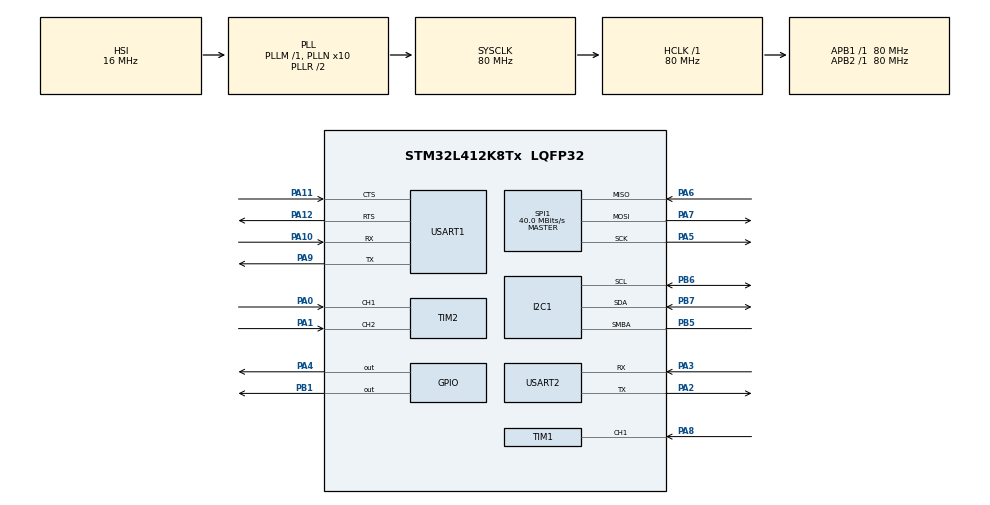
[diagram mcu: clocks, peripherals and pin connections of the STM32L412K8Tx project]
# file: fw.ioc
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I2C1.Timeout=0x000083D0
I2C1.Timing=0x10909CEC
Mcu.Family=STM32L4
Mcu.Name=STM32L412K8Tx
Mcu.Package=LQFP32
NVIC.PriorityGroup=NVIC_PRIORITYGROUP_4
PA0-CK_IN.Signal=S_TIM2_CH1
PA1.Signal=S_TIM2_CH2
PA10.Mode=Asynchronous
PA10.Signal=USART1_RX
PA11.Mode=CTS_RTS
PA11.Signal=USART1_CTS
PA12.Mode=CTS_RTS
PA12.Signal=USART1_RTS
PA13\ (JTMS/SWDIO).Mode=JTAG_5_pins
PA13\ (JTMS/SWDIO).Signal=SYS_JTMS-SWDIO
PA14\ (JTCK/SWCLK).Mode=JTAG_5_pins
PA14\ (JTCK/SWCLK).Signal=SYS_JTCK-SWCLK
PA15\ (JTDI).Mode=JTAG_5_pins
PA15\ (JTDI).Signal=SYS_JTDI
PA2.Mode=Asynchronous
PA2.Signal=USART2_TX
PA3.Mode=Asynchronous
PA3.Signal=USART2_RX
PA4.Signal=GPIO_Output
PA5.Mode=Full_Duplex_Master
PA5.Signal=SPI1_SCK
PA6.Mode=Full_Duplex_Master
PA6.Signal=SPI1_MISO
PA7.Mode=Full_Duplex_Master
PA7.Signal=SPI1_MOSI
PA8.Signal=S_TIM1_CH1
PA9.Mode=Asynchronous
PA9.Signal=USART1_TX
PB1.Signal=GPIO_Output
PB3\ (JTDO/TRACESWO).Mode=JTAG_5_pins
PB3\ (JTDO/TRACESWO).Signal=SYS_JTDO-SWO
PB4\ (NJTRST).Mode=JTAG_5_pins
PB4\ (NJTRST).Signal=SYS_JTRST
PB5.Mode=SMBus-Alert-mode
PB5.Signal=I2C1_SMBA
PB6.Mode=SMBus-Alert-mode
PB6.Signal=I2C1_SCL
PB7.Mode=SMBus-Alert-mode
PB7.Signal=I2C1_SDA
ProjectManager.HeapSize=0x200
ProjectManager.StackSize=0x400
ProjectManager.TargetToolchain=STM32CubeIDE
RCC.ADCFreq_Value=80000000
RCC.AHBFreq_Value=80000000
RCC.APB1Freq_Value=80000000
RCC.APB1TimFreq_Value=80000000
RCC.APB2Freq_Value=80000000
RCC.APB2TimFreq_Value=80000000
RCC.CortexFreq_Value=80000000
RCC.HCLKFreq_Value=80000000
RCC.HSE_VALUE=8000000
RCC.HSI48_VALUE=48000000
RCC.HSI_VALUE=16000000
RCC.LSE_VALUE=32768
RCC.MSIClockRange=RCC_MSIRANGE_11
RCC.MSI_VALUE=48000000
RCC.PLLN=10
RCC.PLLSourceVirtual=RCC_PLLSOURCE_HSI
RCC.SYSCLKFreq_VALUE=80000000
RCC.SYSCLKSource=RCC_SYSCLKSOURCE_PLLCLK
RCC.USBFreq_Value=48000000
RCC.VCOOutputFreq_Value=160000000
SH.S_TIM1_CH1.0=TIM1_CH1,Input_Capture1_from_TI1
SH.S_TIM1_CH1.1=TIM1_CH1,Input_Capture2_from_TI1
SH.S_TIM2_CH1.0=TIM2_CH1,Input_Capture1_from_TI1
SH.S_TIM2_CH2.0=TIM2_CH2,Input_Capture2_from_TI2
SPI1.BaudRatePrescaler=SPI_BAUDRATEPRESCALER_2
SPI1.CalculateBaudRate=40.0 MBits/s
SPI1.Direction=SPI_DIRECTION_2LINES
SPI1.Mode=SPI_MODE_MASTER
SPI1.VirtualType=VM_MASTER
TIM1.Channel-Input_Capture1_from_TI1=TIM_CHANNEL_1
TIM1.Channel-Input_Capture2_from_TI1=TIM_CHANNEL_2
TIM1.ICPolarity_CH1=TIM_INPUTCHANNELPOLARITY_RISING
TIM1.ICPolarity_CH2=TIM_INPUTCHANNELPOLARITY_FALLING
TIM1.TIM_MasterSlaveMode=TIM_MASTERSLAVEMODE_DISABLE
TIM2.Channel-Input_Capture1_from_TI1=TIM_CHANNEL_1
TIM2.Channel-Input_Capture2_from_TI2=TIM_CHANNEL_2
USART1.VirtualMode-Asynchronous=VM_ASYNC
USART2.VirtualMode-Asynchronous=VM_ASYNC
VP_TIM1_VS_ClockSourceINT.Mode=Internal
VP_TIM2_VS_ClockSourceINT.Mode=Internal
board=custom

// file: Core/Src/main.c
/* USER CODE BEGIN Header */
/**
  ******************************************************************************
  * @file           : main.c
  * @brief          : Main program body
  ******************************************************************************
  * @attention
  *
  * <h2><center>&copy; Copyright (c) 2023 STMicroelectronics.
  * All rights reserved.</center></h2>
  *
  * This software component is licensed by ST under BSD 3-Clause license,
  * the "License"; You may not use this file except in compliance with the
  * License. You may obtain a copy of the License at:
  *                        opensource.org/licenses/BSD-3-Clause
  *
  ******************************************************************************
  */
/* USER CODE END Header */
#include "main.h"

/* USER CODE BEGIN Includes */
#include "string.h"

/* USER CODE END Includes */

/* USER CODE BEGIN PD */
#define BUFFER_SIZE 16

#define SIZE 10

/* USER CODE END PD */

SMBUS_HandleTypeDef hsmbus1;

SPI_HandleTypeDef hspi1;

TIM_HandleTypeDef htim1;
TIM_HandleTypeDef htim2;

UART_HandleTypeDef huart1;
UART_HandleTypeDef huart2;

/* USER CODE BEGIN PV */
uint8_t tx_buffer[BUFFER_SIZE];//={'S','t','a','y',' ','a','t',' ','h','o','m','e','!','!','!','!'};
uint8_t rx_buffer[BUFFER_SIZE];

uint8_t st_buffer[SIZE]={'S','t',' ','p','i','e','n','o',' ','\n'};
uint8_t pulp_buffer[SIZE]={'P','u','l','p',' ','f','u','l','l','\n'};

/* USER CODE END PV */

void SystemClock_Config(void);
static void MX_GPIO_Init(void);
static void MX_I2C1_SMBUS_Init(void);
static void MX_SPI1_Init(void);
static void MX_TIM1_Init(void);
static void MX_TIM2_Init(void);
static void MX_USART1_UART_Init(void);
static void MX_USART2_UART_Init(void);

int main(void)
{

  /* MCU Configuration--------------------------------------------------------*/

  /* Reset of all peripherals, Initializes the Flash interface and the Systick. */
  HAL_Init();

  /* Configure the system clock */
  SystemClock_Config();

  /* Initialize all configured peripherals */
  MX_GPIO_Init();
  MX_I2C1_SMBUS_Init();
  MX_SPI1_Init();
  MX_TIM1_Init();
  MX_TIM2_Init();
  MX_USART1_UART_Init();
  MX_USART2_UART_Init();
  /* USER CODE BEGIN 2 */
  uint8_t i=0;
  uint8_t error=0;
  memset(rx_buffer, 0, BUFFER_SIZE);
  memset(tx_buffer, 0, BUFFER_SIZE);

  /* USER CODE END 2 */

  /* Infinite loop */
  /* USER CODE BEGIN WHILE */
  //HAL_UART_Transmit(&huart1, tx_buffer, BUFFER_SIZE, 1000);

  while (1)
  {
    /* USER CODE END WHILE */

    /* USER CODE BEGIN 3 */
	while(i<BUFFER_SIZE)
	{
		if(HAL_GPIO_ReadPin(GPIOA, GPIO_PIN_12)==1)
		{
			HAL_UART_Transmit(&huart2, st_buffer, SIZE, 1000);
			HAL_Delay(10);
			HAL_UART_Receive(&huart1, rx_buffer+i, 1, 10);
			i++;
			HAL_Delay(1);
		}
	}

	i=0;
	while(i<BUFFER_SIZE)
	{
		//if(tx_buffer[i]!=rx_buffer[i]) error++;
		HAL_UART_Transmit(&huart1, rx_buffer+i, 1, 1000);
		i++;
		if(HAL_GPIO_ReadPin(GPIOA, GPIO_PIN_11)==1) HAL_UART_Transmit(&huart2, pulp_buffer, SIZE, 1000);
	}

	HAL_UART_Transmit(&huart1, rx_buffer, BUFFER_SIZE, 1000);

	while(1)
	{
		HAL_GPIO_TogglePin(GPIOB, GPIO_PIN_1);
		HAL_Delay(100);
	}
  }
  /* USER CODE END 3 */
}

void SystemClock_Config(void)
{
  RCC_OscInitTypeDef RCC_OscInitStruct = {0};
  RCC_ClkInitTypeDef RCC_ClkInitStruct = {0};
  RCC_PeriphCLKInitTypeDef PeriphClkInit = {0};

  /** Configure the main internal regulator output voltage
  */
  if (HAL_PWREx_ControlVoltageScaling(PWR_REGULATOR_VOLTAGE_SCALE1) != HAL_OK)
  {
    Error_Handler();
  }
  /** Initializes the RCC Oscillators according to the specified parameters
  * in the RCC_OscInitTypeDef structure.
  */
  RCC_OscInitStruct.OscillatorType = RCC_OSCILLATORTYPE_HSI;
  RCC_OscInitStruct.HSIState = RCC_HSI_ON;
  RCC_OscInitStruct.HSICalibrationValue = RCC_HSICALIBRATION_DEFAULT;
  RCC_OscInitStruct.PLL.PLLState = RCC_PLL_ON;
  RCC_OscInitStruct.PLL.PLLSource = RCC_PLLSOURCE_HSI;
  RCC_OscInitStruct.PLL.PLLM = 1;
  RCC_OscInitStruct.PLL.PLLN = 10;
  RCC_OscInitStruct.PLL.PLLQ = RCC_PLLQ_DIV2;
  RCC_OscInitStruct.PLL.PLLR = RCC_PLLR_DIV2;
  if (HAL_RCC_OscConfig(&RCC_OscInitStruct) != HAL_OK)
  {
    Error_Handler();
  }
  /** Initializes the CPU, AHB and APB buses clocks
  */
  RCC_ClkInitStruct.ClockType = RCC_CLOCKTYPE_HCLK|RCC_CLOCKTYPE_SYSCLK
                              |RCC_CLOCKTYPE_PCLK1|RCC_CLOCKTYPE_PCLK2;
  RCC_ClkInitStruct.SYSCLKSource = RCC_SYSCLKSOURCE_PLLCLK;
  RCC_ClkInitStruct.AHBCLKDivider = RCC_SYSCLK_DIV1;
  RCC_ClkInitStruct.APB1CLKDivider = RCC_HCLK_DIV1;
  RCC_ClkInitStruct.APB2CLKDivider = RCC_HCLK_DIV1;

  if (HAL_RCC_ClockConfig(&RCC_ClkInitStruct, FLASH_LATENCY_4) != HAL_OK)
  {
    Error_Handler();
  }
  PeriphClkInit.PeriphClockSelection = RCC_PERIPHCLK_USART1|RCC_PERIPHCLK_USART2
                              |RCC_PERIPHCLK_I2C1;
  PeriphClkInit.Usart1ClockSelection = RCC_USART1CLKSOURCE_PCLK2;
  PeriphClkInit.Usart2ClockSelection = RCC_USART2CLKSOURCE_PCLK1;
  PeriphClkInit.I2c1ClockSelection = RCC_I2C1CLKSOURCE_PCLK1;
  if (HAL_RCCEx_PeriphCLKConfig(&PeriphClkInit) != HAL_OK)
  {
    Error_Handler();
  }
}

static void MX_I2C1_SMBUS_Init(void)
{

  hsmbus1.Instance = I2C1;
  hsmbus1.Init.Timing = 0x10909CEC;
  hsmbus1.Init.AnalogFilter = SMBUS_ANALOGFILTER_ENABLE;
  hsmbus1.Init.OwnAddress1 = 2;
  hsmbus1.Init.AddressingMode = SMBUS_ADDRESSINGMODE_7BIT;
  hsmbus1.Init.DualAddressMode = SMBUS_DUALADDRESS_DISABLE;
  hsmbus1.Init.OwnAddress2 = 0;
  hsmbus1.Init.OwnAddress2Masks = SMBUS_OA2_NOMASK;
  hsmbus1.Init.GeneralCallMode = SMBUS_GENERALCALL_DISABLE;
  hsmbus1.Init.NoStretchMode = SMBUS_NOSTRETCH_DISABLE;
  hsmbus1.Init.PacketErrorCheckMode = SMBUS_PEC_DISABLE;
  hsmbus1.Init.PeripheralMode = SMBUS_PERIPHERAL_MODE_SMBUS_SLAVE;
  hsmbus1.Init.SMBusTimeout = 0x000083D0;
  if (HAL_SMBUS_Init(&hsmbus1) != HAL_OK)
  {
    Error_Handler();
  }
  /** configuration Alert Mode
  */
  if (HAL_SMBUS_EnableAlert_IT(&hsmbus1) != HAL_OK)
  {
    Error_Handler();
  }

}

static void MX_SPI1_Init(void)
{

  /* SPI1 parameter configuration*/
  hspi1.Instance = SPI1;
  hspi1.Init.Mode = SPI_MODE_MASTER;
  hspi1.Init.Direction = SPI_DIRECTION_2LINES;
  hspi1.Init.DataSize = SPI_DATASIZE_4BIT;
  hspi1.Init.CLKPolarity = SPI_POLARITY_LOW;
  hspi1.Init.CLKPhase = SPI_PHASE_1EDGE;
  hspi1.Init.NSS = SPI_NSS_SOFT;
  hspi1.Init.BaudRatePrescaler = SPI_BAUDRATEPRESCALER_2;
  hspi1.Init.FirstBit = SPI_FIRSTBIT_MSB;
  hspi1.Init.TIMode = SPI_TIMODE_DISABLE;
  hspi1.Init.CRCCalculation = SPI_CRCCALCULATION_DISABLE;
  hspi1.Init.CRCPolynomial = 7;
  hspi1.Init.CRCLength = SPI_CRC_LENGTH_DATASIZE;
  hspi1.Init.NSSPMode = SPI_NSS_PULSE_ENABLE;
  if (HAL_SPI_Init(&hspi1) != HAL_OK)
  {
    Error_Handler();
  }

}

static void MX_TIM1_Init(void)
{

  TIM_ClockConfigTypeDef sClockSourceConfig = {0};
  TIM_MasterConfigTypeDef sMasterConfig = {0};
  TIM_IC_InitTypeDef sConfigIC = {0};

  htim1.Instance = TIM1;
  htim1.Init.Prescaler = 0;
  htim1.Init.CounterMode = TIM_COUNTERMODE_UP;
  htim1.Init.Period = 65535;
  htim1.Init.ClockDivision = TIM_CLOCKDIVISION_DIV1;
  htim1.Init.RepetitionCounter = 0;
  htim1.Init.AutoReloadPreload = TIM_AUTORELOAD_PRELOAD_DISABLE;
  if (HAL_TIM_Base_Init(&htim1) != HAL_OK)
  {
    Error_Handler();
  }
  sClockSourceConfig.ClockSource = TIM_CLOCKSOURCE_INTERNAL;
  if (HAL_TIM_ConfigClockSource(&htim1, &sClockSourceConfig) != HAL_OK)
  {
    Error_Handler();
  }
  if (HAL_TIM_IC_Init(&htim1) != HAL_OK)
  {
    Error_Handler();
  }
  sMasterConfig.MasterOutputTrigger = TIM_TRGO_RESET;
  sMasterConfig.MasterOutputTrigger2 = TIM_TRGO2_RESET;
  sMasterConfig.MasterSlaveMode = TIM_MASTERSLAVEMODE_DISABLE;
  if (HAL_TIMEx_MasterConfigSynchronization(&htim1, &sMasterConfig) != HAL_OK)
  {
    Error_Handler();
  }
  sConfigIC.ICPolarity = TIM_INPUTCHANNELPOLARITY_RISING;
  sConfigIC.ICSelection = TIM_ICSELECTION_DIRECTTI;
  sConfigIC.ICPrescaler = TIM_ICPSC_DIV1;
  sConfigIC.ICFilter = 0;
  if (HAL_TIM_IC_ConfigChannel(&htim1, &sConfigIC, TIM_CHANNEL_1) != HAL_OK)
  {
    Error_Handler();
  }
  sConfigIC.ICPolarity = TIM_INPUTCHANNELPOLARITY_FALLING;
  sConfigIC.ICSelection = TIM_ICSELECTION_INDIRECTTI;
  if (HAL_TIM_IC_ConfigChannel(&htim1, &sConfigIC, TIM_CHANNEL_2) != HAL_OK)
  {
    Error_Handler();
  }

}

static void MX_TIM2_Init(void)
{

  TIM_ClockConfigTypeDef sClockSourceConfig = {0};
  TIM_MasterConfigTypeDef sMasterConfig = {0};
  TIM_IC_InitTypeDef sConfigIC = {0};

  htim2.Instance = TIM2;
  htim2.Init.Prescaler = 0;
  htim2.Init.CounterMode = TIM_COUNTERMODE_UP;
  htim2.Init.Period = 4294967295;
  htim2.Init.ClockDivision = TIM_CLOCKDIVISION_DIV1;
  htim2.Init.AutoReloadPreload = TIM_AUTORELOAD_PRELOAD_DISABLE;
  if (HAL_TIM_Base_Init(&htim2) != HAL_OK)
  {
    Error_Handler();
  }
  sClockSourceConfig.ClockSource = TIM_CLOCKSOURCE_INTERNAL;
  if (HAL_TIM_ConfigClockSource(&htim2, &sClockSourceConfig) != HAL_OK)
  {
    Error_Handler();
  }
  if (HAL_TIM_IC_Init(&htim2) != HAL_OK)
  {
    Error_Handler();
  }
  sMasterConfig.MasterOutputTrigger = TIM_TRGO_RESET;
  sMasterConfig.MasterSlaveMode = TIM_MASTERSLAVEMODE_DISABLE;
  if (HAL_TIMEx_MasterConfigSynchronization(&htim2, &sMasterConfig) != HAL_OK)
  {
    Error_Handler();
  }
  sConfigIC.ICPolarity = TIM_INPUTCHANNELPOLARITY_RISING;
  sConfigIC.ICSelection = TIM_ICSELECTION_DIRECTTI;
  sConfigIC.ICPrescaler = TIM_ICPSC_DIV1;
  sConfigIC.ICFilter = 0;
  if (HAL_TIM_IC_ConfigChannel(&htim2, &sConfigIC, TIM_CHANNEL_1) != HAL_OK)
  {
    Error_Handler();
  }
  if (HAL_TIM_IC_ConfigChannel(&htim2, &sConfigIC, TIM_CHANNEL_2) != HAL_OK)
  {
    Error_Handler();
  }

}

static void MX_USART1_UART_Init(void)
{

  huart1.Instance = USART1;
  huart1.Init.BaudRate = 115200;
  huart1.Init.WordLength = UART_WORDLENGTH_8B;
  huart1.Init.StopBits = UART_STOPBITS_1;
  huart1.Init.Parity = UART_PARITY_NONE;
  huart1.Init.Mode = UART_MODE_TX_RX;
  huart1.Init.HwFlowCtl = UART_HWCONTROL_RTS_CTS;
  huart1.Init.OverSampling = UART_OVERSAMPLING_16;
  huart1.Init.OneBitSampling = UART_ONE_BIT_SAMPLE_DISABLE;
  huart1.AdvancedInit.AdvFeatureInit = UART_ADVFEATURE_NO_INIT;
  if (HAL_UART_Init(&huart1) != HAL_OK)
  {
    Error_Handler();
  }

}

static void MX_USART2_UART_Init(void)
{

  huart2.Instance = USART2;
  huart2.Init.BaudRate = 115200;
  huart2.Init.WordLength = UART_WORDLENGTH_8B;
  huart2.Init.StopBits = UART_STOPBITS_1;
  huart2.Init.Parity = UART_PARITY_NONE;
  huart2.Init.Mode = UART_MODE_TX_RX;
  huart2.Init.HwFlowCtl = UART_HWCONTROL_NONE;
  huart2.Init.OverSampling = UART_OVERSAMPLING_16;
  huart2.Init.OneBitSampling = UART_ONE_BIT_SAMPLE_DISABLE;
  huart2.AdvancedInit.AdvFeatureInit = UART_ADVFEATURE_NO_INIT;
  if (HAL_UART_Init(&huart2) != HAL_OK)
  {
    Error_Handler();
  }

}

static void MX_GPIO_Init(void)
{
  GPIO_InitTypeDef GPIO_InitStruct = {0};

  /* GPIO Ports Clock Enable */
  __HAL_RCC_GPIOA_CLK_ENABLE();
  __HAL_RCC_GPIOB_CLK_ENABLE();

  /*Configure GPIO pin Output Level */
  HAL_GPIO_WritePin(GPIOA, GPIO_PIN_4, GPIO_PIN_RESET);

  /*Configure GPIO pin Output Level */
  HAL_GPIO_WritePin(GPIOB, GPIO_PIN_1, GPIO_PIN_RESET);

  /*Configure GPIO pin : PA4 */
  GPIO_InitStruct.Pin = GPIO_PIN_4;
  GPIO_InitStruct.Mode = GPIO_MODE_OUTPUT_PP;
  GPIO_InitStruct.Pull = GPIO_NOPULL;
  GPIO_InitStruct.Speed = GPIO_SPEED_FREQ_LOW;
  HAL_GPIO_Init(GPIOA, &GPIO_InitStruct);

  /*Configure GPIO pin : PB1 */
  GPIO_InitStruct.Pin = GPIO_PIN_1;
  GPIO_InitStruct.Mode = GPIO_MODE_OUTPUT_PP;
  GPIO_InitStruct.Pull = GPIO_NOPULL;
  GPIO_InitStruct.Speed = GPIO_SPEED_FREQ_LOW;
  HAL_GPIO_Init(GPIOB, &GPIO_InitStruct);

}

void Error_Handler(void)
{
  __disable_irq();
  while (1)
  {
  }
}

/************************ (C) COPYRIGHT STMicroelectronics *****END OF FILE****/
